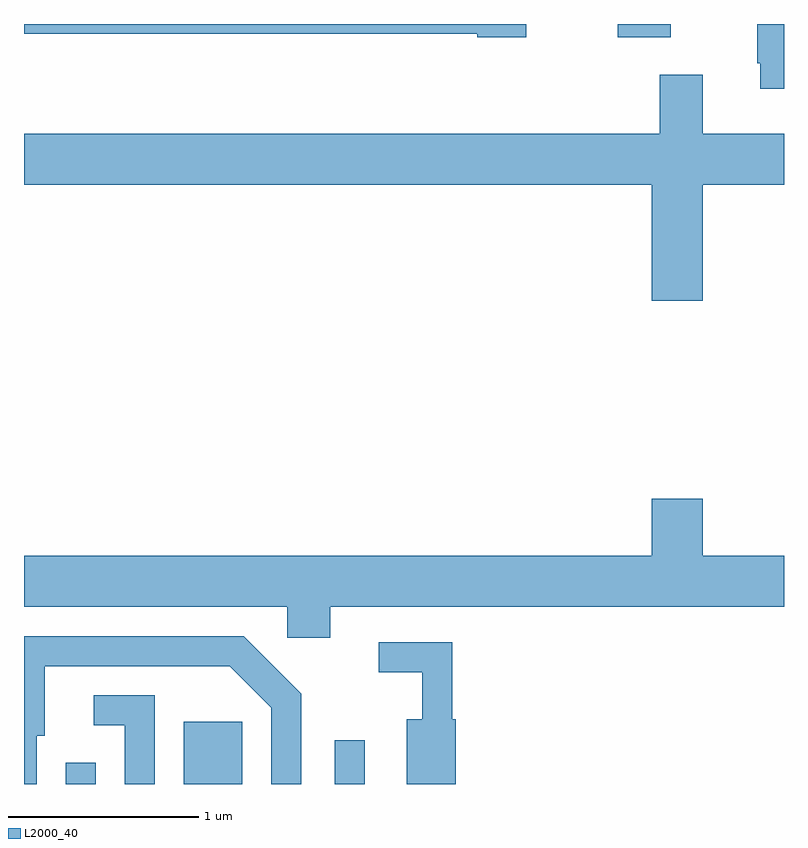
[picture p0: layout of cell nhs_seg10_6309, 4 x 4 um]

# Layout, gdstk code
import gdstk
lib = gdstk.Library(unit=1e-6, precision=1e-09)
def R(c, l, rs):  # rectangles x0, y0, x1, y1
    for r in rs: c.add(gdstk.rectangle(r[:2], r[2:], *l))
def P(c, l, *ps):  # polygons
    for p in ps: c.add(gdstk.Polygon(p, *l))
L2000_40 = (2000, 40)

nhs_seg10_6309 = lib.new_cell('nhs_seg10_6309')
R(nhs_seg10_6309, L2000_40, [(371.831,2128.522,371.989,2128.633), (372.451,2128.522,372.759,2128.849), (373.246,2128.522,373.404,2128.753), (374.736,2132.451,375.014,2132.522)])
P(nhs_seg10_6309, L2000_40, [(375.611,2132.522),(375.471,2132.522),(375.471,2132.315),(375.486,2132.315),(375.486,2132.181),(375.611,2132.181)],
  [(374.254,2132.522),(371.611,2132.522),(371.611,2132.471),(373.996,2132.471),(373.996,2132.451),(374.254,2132.451)],
  [(375.184,2131.676),(375.611,2131.676),(375.611,2131.944),(375.184,2131.944),(375.184,2132.254),(374.956,2132.254),(374.956,2131.944),(371.611,2131.944),(371.611,2131.676),(374.916,2131.676),(374.916,2131.066),(375.184,2131.066)],
  [(373.224,2129.456),(375.611,2129.456),(375.611,2129.724),(375.184,2129.724),(375.184,2130.024),(374.916,2130.024),(374.916,2129.724),(371.611,2129.724),(371.611,2129.456),(372.996,2129.456),(372.996,2129.291),(373.224,2129.291)],
  [(371.679,2128.776),(371.719,2128.776),(371.719,2129.141),(372.694,2129.141),(372.911,2128.924),(372.911,2128.522),(373.069,2128.522),(373.069,2128.997),(372.767,2129.299),(371.611,2129.299),(371.611,2128.522),(371.679,2128.522)],
  [(373.884,2128.864),(373.864,2128.864),(373.864,2129.269),(373.478,2129.269),(373.478,2129.111),(373.706,2129.111),(373.706,2128.864),(373.626,2128.864),(373.626,2128.522),(373.884,2128.522)],
  [(372.299,2128.989),(371.978,2128.989),(371.978,2128.831),(372.141,2128.831),(372.141,2128.522),(372.299,2128.522)])

lib.write_gds('nhs_seg10_6309.gds')
